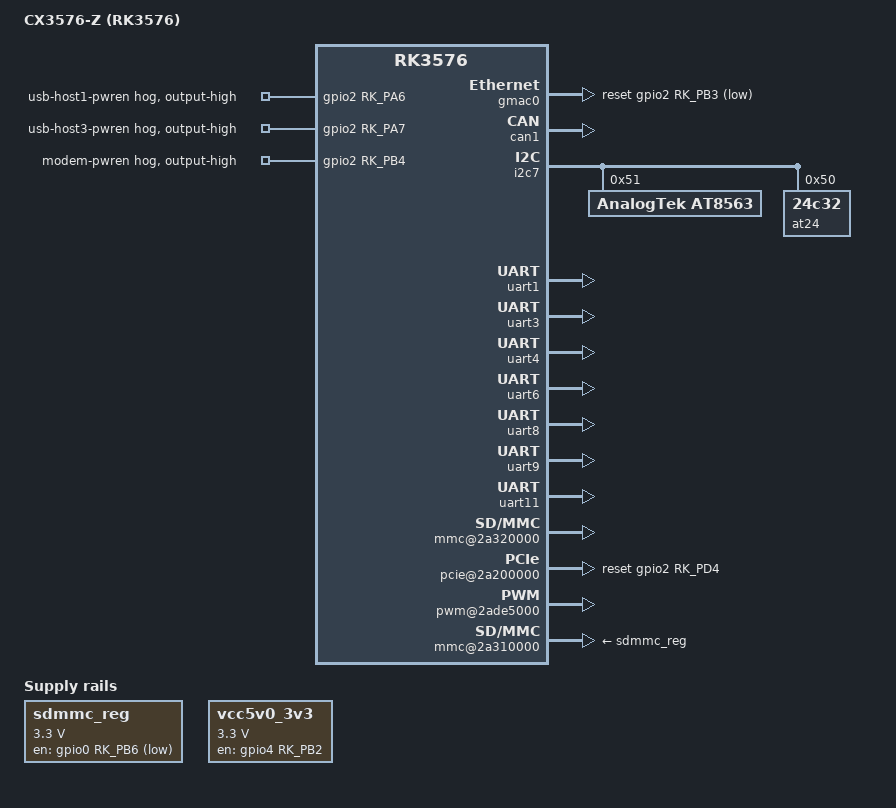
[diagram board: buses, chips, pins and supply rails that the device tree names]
// SPDX-License-Identifier: (GPL-2.0+ OR MIT)

/* CX3576-Z board device tree. */
/dts-v1/;

#include "rk3576.dtsi"
#include "rk3576-evb1.dtsi"
#include "rk3576-evb1-cam-dcphy0.dtsi"
#include "rk3576-linux.dtsi"

/ {
	model = "CX3576-Z (RK3576)";
	compatible = "jawest,cx3576z", "rockchip,rk3576-evb1-v10",
		     "rockchip,rk3576";
};

&ufs {
	status = "disabled";
};

&gmac0 {
	snps,reset-gpio = <&gpio2 RK_PB3 GPIO_ACTIVE_LOW>;
};

&gmac1 {
	status = "disabled";
};

&can0 {
	status = "disabled";
};

/* CAN1 is the only routed controller and appears as Linux can0. */
&can1 {
	status = "okay";
	assigned-clocks = <&cru CLK_CAN1>;
	assigned-clock-rates = <200000000>;
	pinctrl-names = "default";
	pinctrl-0 = <&can1m3_pins>;
	dmas = <&{/dma-controller@2abb0000} 21>;
	dma-names = "rx";
};

&i2c7 {
	status = "okay";

	at8563: rtc@51 {
		compatible = "AnalogTek,AT8563", "haoyu,hym8563";
		reg = <0x51>;
		#clock-cells = <0>;
		clock-output-names = "AT8563";
	};


	at24@50 {
		compatible = "24c32";
		reg = <0x50>;
	};
};

&{/phy@2b010000} {
	rockchip,dp-lane-mux = <2 3>;
	/delete-property/ orientation-switch;
	/delete-property/ sbu1-dc-gpios;
	/delete-property/ sbu2-dc-gpios;
	/delete-property/ svid;
	/delete-node/ port;
};

&{/usb@23000000} {
	extcon = <&u2phy0>;
	/delete-property/ usb-role-switch;
	/delete-node/ port;
};

&u2phy0_otg {
	vbus-supply = <&vbus5v0_typec>;
	/delete-property/ rockchip,typec-vbus-det;

	rockchip,dis-u2-susphy;
};

&vbus5v0_typec {
	gpio = <&gpio2 RK_PB6 GPIO_ACTIVE_HIGH>;
};

&{/pinctrl/usb/usb-otg0-pwren} {
	rockchip,pins = <2 RK_PB6 0 &pcfg_pull_none>;
};

&{/pinctrl/headphone/hp-det} {
	rockchip,pins = <2 RK_PB7 0 &pcfg_pull_up>;
};

&{/hdmi@27da0000} {
	/delete-property/ enable-gpios;
};

/* UART1 and UART6 are RS-485 ports; UART4 is Bluetooth HCI. */
&uart1 {
	status = "okay";
	pinctrl-names = "default";
	pinctrl-0 = <&uart1m1_xfer>;
};

&uart3 {
	status = "okay";
	pinctrl-names = "default";
	pinctrl-0 = <&uart3m1_xfer>;
};

&uart4 {
	status = "okay";
	pinctrl-names = "default";
	pinctrl-0 = <&uart4m1_xfer &uart4m1_ctsn>;
};

&{/wireless-bluetooth} {
	status = "okay";
};

&uart6 {
	status = "okay";
	pinctrl-names = "default";
	pinctrl-0 = <&uart6m1_xfer>;
};

&uart8 {
	status = "okay";
	pinctrl-names = "default";
	pinctrl-0 = <&uart8m2_xfer>;
};

&uart9 {
	status = "okay";
	pinctrl-names = "default";
	pinctrl-0 = <&uart9m0_xfer>;
};

&uart11 {
	status = "okay";
	pinctrl-names = "default";
	pinctrl-0 = <&uart11m1_xfer>;
};

/* The FC900K/AIC8800D80 Wi-Fi function uses SDIO. */
&{/mmc@2a320000} {
	status = "okay";
};

&{/sdio-pwrseq} {
	status = "okay";
	clocks = <&at8563>;
	clock-names = "ext_clock";
};

&{/pcie@2a200000} {
	status = "okay";
	reset-gpios = <&gpio2 RK_PD4 GPIO_ACTIVE_HIGH>;

	/delete-property/ pinctrl-names;
	/delete-property/ pinctrl-0;
};

&{/i2c@2ac50000} {
	/delete-node/ husb311@4e;
};

&{/i2c@2ac50000/hym8563@51} {
	status = "disabled";
};

&{/i2c@2ac70000/imx415@1a} {
	status = "disabled";
};

&{/pwm@2ade5000} { status = "okay"; };
&{/watchdog@2ace0000} { status = "okay"; };

&{/sai@2a640000} { status = "disabled"; };

&{/sata@2a240000} { status = "disabled"; };

&{/dsi@27d80000} { status = "disabled"; };

&{/vop@27d00000} {
	support-multi-area;
};

&{/vop@27d00000/ports/port@0} {
	rockchip,plane-mask = <0x04>;
	rockchip,primary-plane = <0x02>;
};

&{/vop@27d00000/ports/port@1} {
	rockchip,plane-mask = <0x08>;
	rockchip,primary-plane = <0x03>;
};

&{/vop@27d00000/ports/port@2} {
	rockchip,plane-mask = <0x100>;
	rockchip,primary-plane = <0x08>;
};

&{/es8388-sound} {
	hp-det-gpio = <&gpio2 RK_PB7 GPIO_ACTIVE_HIGH>;
	spk-con-gpio = <&gpio3 RK_PD6 GPIO_ACTIVE_HIGH>;
	/delete-property/ hp-con-gpio;
	rockchip,audio-routing =
		"Headphone", "LOUT1",
		"Headphone", "ROUT1",
		"Speaker", "LOUT2",
		"Speaker", "ROUT2",
		"Headphone", "Headphone Power",
		"Headphone", "Headphone Power",
		"Speaker", "Speaker Power",
		"Speaker", "Speaker Power",
		"LINPUT1", "Main Mic",
		"LINPUT2", "Main Mic",
		"RINPUT1", "Headset Mic",
		"RINPUT2", "Headset Mic";
};

&{/i2c@2ac40000/pmic@23} {
	/delete-property/ shutdown-sequence;
	/delete-property/ vb-shutdown-sequence;
};

&{/backlight} { status = "disabled"; };
&{/dp0-sound} { status = "disabled"; };
&{/i2c@27300000} { status = "disabled"; };
&{/i2c@27300000/gt1x@14} { status = "disabled"; };
&{/i2c@2ac70000/imx464-0@1a} { status = "disabled"; };
&{/i2c@2ac70000/imx464-1@36} { status = "disabled"; };
&{/i2c@2ac70000/os04a10@36} { status = "disabled"; };
&{/i2c@2ac70000/sc4336@30} { status = "disabled"; };
&{/i2c@2aca0000/icm_acc@68} { status = "disabled"; };
&{/i2c@2aca0000/icm_gyro@68} { status = "disabled"; };

/*
 * The stock board support uses a private jawest,jwsled driver for these two
 * indicators.  Model them with gpio-leds instead: red means Linux is still
 * starting (or shutting down), and userspace switches to blue when the
 * default OpenRC runlevel has been reached.
 */
&{/leds} {
	pinctrl-names = "default";
	pinctrl-0 = <&status_red_pin &status_blue_pin>;

	status_red: status-red {
		label = "status-red";
		/* Stock jwsled drives red on with 0 and off with 1. */
		gpios = <&gpio4 RK_PC7 GPIO_ACTIVE_LOW>;
		default-state = "on";
	};

	status_blue: status-blue {
		label = "status-blue";
		gpios = <&gpio4 RK_PB0 GPIO_ACTIVE_HIGH>;
		default-state = "off";
	};
};

/* EVB1 assigns GPIO4_B0 to an unused camera rail; it is the blue LED here. */
&{/vcc-mipicsi0-regulator} { status = "disabled"; };

&{/adc-keys} { status = "disabled"; };

&{/dp@27e40000} { status = "disabled"; };

/ {
	sdmmc_reg: sdmmc-regulator {
		compatible = "regulator-fixed";
		regulator-name = "vcc_sd";
		regulator-min-microvolt = <3300000>;
		regulator-max-microvolt = <3300000>;
		gpio = <&gpio0 RK_PB6 GPIO_ACTIVE_LOW>;
		enable-active-low;
		pinctrl-names = "default";
		pinctrl-0 = <&sdmmc_pwr>;
	};

	vcc5v0_3v3: vcc5v0-3v3 {
		compatible = "regulator-fixed";
		regulator-name = "vcc5v0_3v3";
		regulator-always-on;
		regulator-boot-on;
		regulator-min-microvolt = <3300000>;
		regulator-max-microvolt = <3300000>;
		gpio = <&gpio4 RK_PB2 GPIO_ACTIVE_HIGH>;
		enable-active-high;
		pinctrl-names = "default";
		pinctrl-0 = <&vcc5v0_3v3_pwren>;
	};
};

&pinctrl {
	status-leds {
		status_red_pin: status-red-pin {
			rockchip,pins = <4 RK_PC7 0 &pcfg_pull_up>;
		};

		status_blue_pin: status-blue-pin {
			rockchip,pins = <4 RK_PB0 0 &pcfg_pull_up>;
		};
	};

	sdmmc-pwr-en {
		sdmmc_pwr: sdmmc-pwr {
			rockchip,pins = <0 RK_PB6 0 &pcfg_pull_none>;
		};
	};

	vcc5v0-3v3-en {
		vcc5v0_3v3_pwren: vcc5v0-3v3-pwren {
			rockchip,pins = <4 RK_PB2 0 &pcfg_pull_none>;
		};
	};
};

&{/mmc@2a310000} {
	vmmc-supply = <&sdmmc_reg>;

	pinctrl-0 = <&sdmmc0_clk &sdmmc0_cmd &sdmmc0_det &sdmmc0_bus4>;
};

&{/sai@2a610000} {
	pinctrl-0 = <&sai1m0_lrck &sai1m0_sclk &sai1m0_sdi0 &sai1m0_sdo2>;
};

&{/wireless-wlan} {
	status = "disabled";
};

/* Keep board power rails enabled without the vendor control driver. */
&gpio2 {
	usb-host1-pwren-hog {
		gpio-hog;
		gpios = <RK_PA6 GPIO_ACTIVE_HIGH>;
		output-high;
		line-name = "usb-host1-pwren";
	};

	usb-host3-pwren-hog {
		gpio-hog;
		gpios = <RK_PA7 GPIO_ACTIVE_HIGH>;
		output-high;
		line-name = "usb-host3-pwren";
	};

	modem-pwren-hog {
		gpio-hog;
		gpios = <RK_PB4 GPIO_ACTIVE_HIGH>;
		output-high;
		line-name = "modem-pwren";
	};
};
